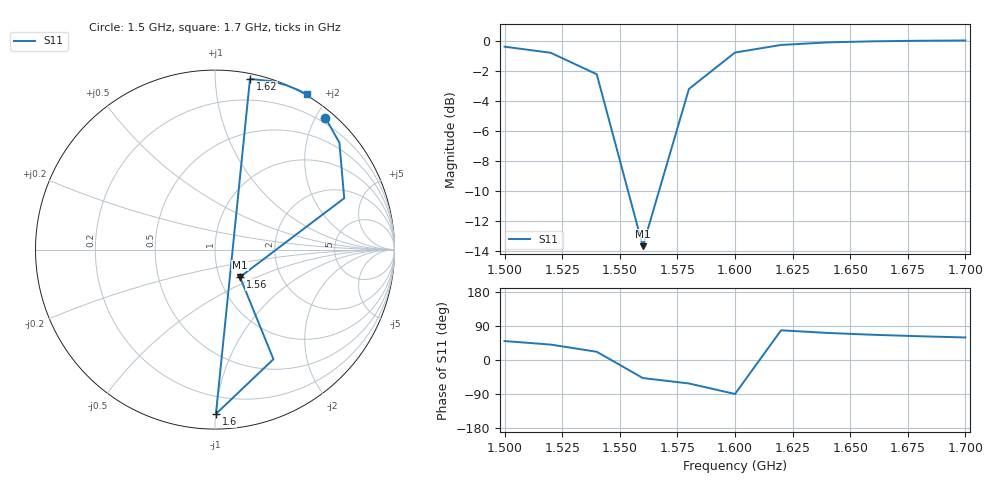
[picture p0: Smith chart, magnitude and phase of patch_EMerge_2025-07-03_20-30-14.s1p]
! Generated by EMerge - 1-port S-parameters
! File generated: 2025-07-03 20:30
! er: 3.38
! h = 0.001524 mm
! Design parameters:
! Wpatch = 0.053 mm
! Lpatch = 0.052000000000000005 mm
! wline = 0.0032 mm
! wstub = 0.007 mm
! Air box height = 0.04 mm
! Run time = 2.577887499332428 min
# GHZ S MA R 50
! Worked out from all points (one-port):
!   11 points, 1.5 GHz to 1.7 GHz, reference 50 ohm
!   lowest |S11| = -13.7 dB at 1.56 GHz (marker M1), VSWR 1.52, Z = 62.6 - j20 ohm
!   |S11| at or under -10 dB: 1.554 GHz to 1.567 GHz (13.48 MHz wide, 0.864 % of centre)
!   S11 on the Smith chart (normalised r, x): 1.5 GHz: 0.12, +2.14; 1.56 GHz: 1.25, -0.40; 1.6 GHz: 0.09, -1.00; 1.62 GHz: 0.04, +1.23; 1.7 GHz: -0.01, +1.75
1.5  0.9578 50.0
1.52  0.914 40.7
1.54  0.7748 21.7
1.56  0.2066 -47.7
1.58  0.6919 -61.9
1.6  0.9157 -89.7
1.62  0.9706 78.4
1.64  0.9898 71.5
1.66  0.9982 66.6
1.68  1.002 62.7
1.7  1.005 59.5
